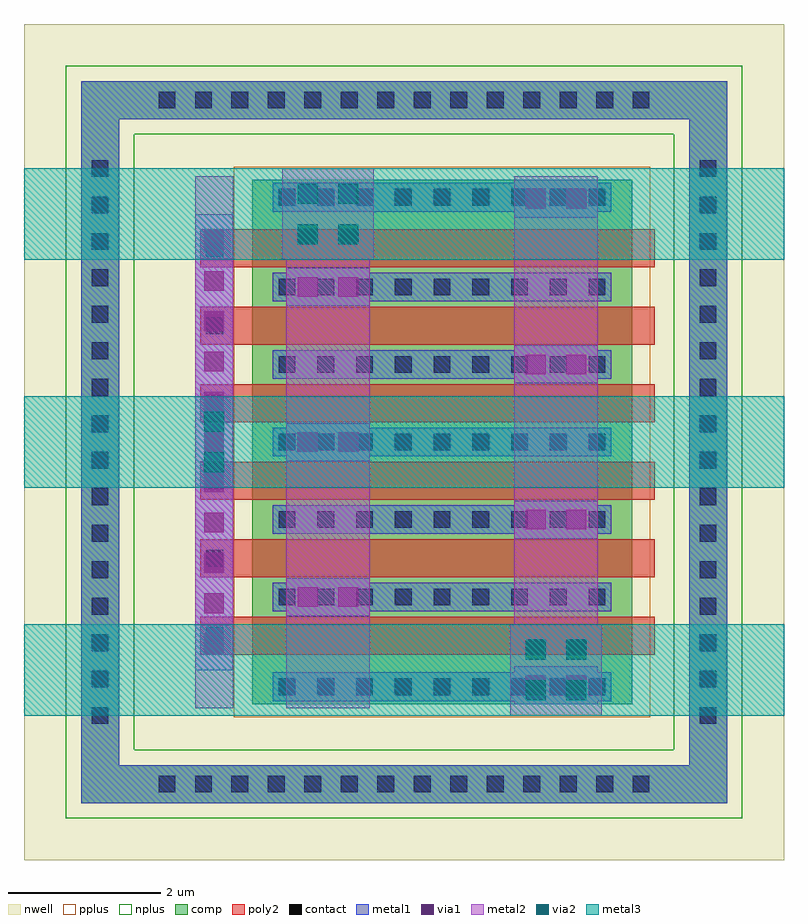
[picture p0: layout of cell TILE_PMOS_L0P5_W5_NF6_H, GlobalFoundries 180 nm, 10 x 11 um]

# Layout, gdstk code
from math import pi, radians
import gdstk
lib = gdstk.Library(unit=1e-6, precision=1e-09)
def R(c, l, rs):  # rectangles x0, y0, x1, y1
    for r in rs: c.add(gdstk.rectangle(r[:2], r[2:], *l))
def A(c, l, x, y, w, h, nx, ny, dx, dy):  # array of equal rectangles
    R(c, l, [(x+i*dx, y+j*dy, x+i*dx+w, y+j*dy+h) for i in range(nx) for j in range(ny)])
nwell = (21, 0)
comp = (22, 0)
poly2 = (30, 0)
pplus = (31, 0)
nplus = (32, 0)
contact = (33, 0)
metal1 = (34, 0)
via1 = (35, 0)
metal2 = (36, 0)
via2 = (38, 0)
metal3 = (42, 0)

via_dev = lib.new_cell('via_dev')

via_dev_12 = lib.new_cell('via_dev$12')
R(via_dev_12, comp, [(0,0,0.5,7)])
A(via_dev_12, contact, 0.14, 0.27, 0.22, 0.22, 1, 14, 0, 0.48)
R(via_dev_12, metal1, [(0,0,0.5,7)])

via_dev_13 = lib.new_cell('via_dev$13')
R(via_dev_13, comp, [(0,0,8,0.5)])
A(via_dev_13, contact, 0.29, 0.14, 0.22, 0.22, 16, 1, 0.48, 0)
R(via_dev_13, metal1, [(0,0,8,0.5)])

pfet = lib.new_cell('pfet')
R(pfet, nwell, [(-0.9,-0.44,6.88,5.44)])
R(pfet, comp, [(-0.46,0,0,5), (0,0,5.98,5), (5.98,0,6.44,5)])
A(pfet, poly2, 0.19, -0.3, 0.5, 5.6, 6, 1, 1.02, 0)
A(pfet, poly2, 0.19, 5.3, 0.5, 0.38, 6, 1, 1.02, 0)
R(pfet, pplus, [(-0.63,-0.24,6.61,5.24)])
A(pfet, contact, -0.34, 0.35, 0.22, 0.22, 1, 9, 0, 0.51)
A(pfet, contact, 0.84, 0.35, 0.22, 0.22, 5, 9, 1.02, 0.51)
A(pfet, contact, 6.1, 0.35, 0.22, 0.22, 1, 9, 0, 0.51)
A(pfet, contact, 0.33, 5.38, 0.22, 0.22, 6, 1, 1.02, 0)
A(pfet, metal1, 0.76, 0.27, 0.38, 4.46, 5, 1, 1.02, 0)
A(pfet, metal1, 0.25, 5.299, 0.38, 0.382, 6, 1, 1.02, 0)
R(pfet, metal1, [(-0.42,0.27,-0.04,4.73), (6.02,0.27,6.4,4.73)])

via_dev_14 = lib.new_cell('via_dev$14')
R(via_dev_14, metal1, [(0,0,0.5,1.1)])
R(via_dev_14, via1, [(0.12,0.155,0.38,0.415), (0.12,0.685,0.38,0.945)])
R(via_dev_14, metal2, [(0,0,0.5,1.1)])

via_dev_15 = lib.new_cell('via_dev$15')
R(via_dev_15, metal1, [(0,0,6,0.5)])
A(via_dev_15, via1, 0.22, 0.12, 0.26, 0.26, 11, 1, 0.53, 0)
R(via_dev_15, metal2, [(0,0,6,0.5)])

tile_pmos_l0p5_w5_nf6 = lib.new_cell('TILE_PMOS_L0P5_W5_NF6')
R(tile_pmos_l0p5_w5_nf6, nwell, [(-5.5,-1,5.5,9)])
tile_pmos_l0p5_w5_nf6.add(gdstk.FlexPath([(-3.5,2),(3.5,2)], 1.1, ends="flush", simple_path=True, layer=36, datatype=0))  # metal2
tile_pmos_l0p5_w5_nf6.add(gdstk.FlexPath([(-3.5,5),(3.5,5)], 1.1, ends="flush", simple_path=True, layer=36, datatype=0))  # metal2
tile_pmos_l0p5_w5_nf6.add(gdstk.FlexPath([(-3.5,6.5),(3.5,6.5)], 0.5, ends="flush", simple_path=True, layer=36, datatype=0))  # metal2
tile_pmos_l0p5_w5_nf6.add(gdstk.FlexPath([(-4.5,8.25),(-4.5,-0.25)], 0.5, ends="flush", simple_path=True, layer=34, datatype=0))  # metal1
tile_pmos_l0p5_w5_nf6.add(gdstk.FlexPath([(4.5,8.25),(4.5,-0.25)], 0.5, ends="flush", simple_path=True, layer=34, datatype=0))  # metal1
tile_pmos_l0p5_w5_nf6.add(gdstk.FlexPath([(-4.75,8),(4.75,8)], 0.5, ends="flush", simple_path=True, layer=34, datatype=0))  # metal1
tile_pmos_l0p5_w5_nf6.add(gdstk.FlexPath([(-4.75,0),(4.75,0)], 0.5, ends="flush", simple_path=True, layer=34, datatype=0))  # metal1
tile_pmos_l0p5_w5_nf6.add(gdstk.FlexPath([(-3,6.5),(3,6.5)], 0.5, ends="flush", simple_path=True, layer=34, datatype=0))  # metal1
tile_pmos_l0p5_w5_nf6.add(gdstk.FlexPath([(4.5,8.25),(4.5,-0.25)], 0.5, ends="flush", simple_path=True, layer=22, datatype=0))  # comp
tile_pmos_l0p5_w5_nf6.add(gdstk.FlexPath([(-4.5,8.25),(-4.5,-0.25)], 0.5, ends="flush", simple_path=True, layer=22, datatype=0))  # comp
tile_pmos_l0p5_w5_nf6.add(gdstk.FlexPath([(-4.75,8),(4.75,8)], 0.5, ends="flush", simple_path=True, layer=22, datatype=0))  # comp
tile_pmos_l0p5_w5_nf6.add(gdstk.FlexPath([(-4.75,0),(4.75,0)], 0.5, ends="flush", simple_path=True, layer=22, datatype=0))  # comp
tile_pmos_l0p5_w5_nf6.add(gdstk.FlexPath([(-4.95,0),(4.95,0)], 0.9, ends="flush", simple_path=True, layer=32, datatype=0))  # nplus
tile_pmos_l0p5_w5_nf6.add(gdstk.FlexPath([(-4.95,8),(4.95,8)], 0.9, ends="flush", simple_path=True, layer=32, datatype=0))  # nplus
tile_pmos_l0p5_w5_nf6.add(gdstk.FlexPath([(4.5,0),(4.5,8)], 0.9, ends="flush", simple_path=True, layer=32, datatype=0))  # nplus
tile_pmos_l0p5_w5_nf6.add(gdstk.FlexPath([(-4.5,0),(-4.5,8)], 0.9, ends="flush", simple_path=True, layer=32, datatype=0))  # nplus
tile_pmos_l0p5_w5_nf6.add(gdstk.Reference(via_dev, (-0.62,-0.915)))
tile_pmos_l0p5_w5_nf6.add(gdstk.Reference(via_dev_12, (-4.75,0.5)))
tile_pmos_l0p5_w5_nf6.add(gdstk.Reference(via_dev_12, (4.25,0.5)))
tile_pmos_l0p5_w5_nf6.add(gdstk.Reference(via_dev_13, (-4,-0.25)))
tile_pmos_l0p5_w5_nf6.add(gdstk.Reference(pfet, (-2.99,1)))
tile_pmos_l0p5_w5_nf6.add(gdstk.Reference(via_dev_14, (-3.45,1.45)))
tile_pmos_l0p5_w5_nf6.add(gdstk.Reference(via_dev_14, (-1.27,1.45)))
tile_pmos_l0p5_w5_nf6.add(gdstk.Reference(via_dev_14, (0.77,1.45)))
tile_pmos_l0p5_w5_nf6.add(gdstk.Reference(via_dev_14, (2.95,1.45)))
tile_pmos_l0p5_w5_nf6.add(gdstk.Reference(via_dev_14, (1.79,4.45)))
tile_pmos_l0p5_w5_nf6.add(gdstk.Reference(via_dev_14, (-0.25,4.45)))
tile_pmos_l0p5_w5_nf6.add(gdstk.Reference(via_dev_14, (-2.29,4.45)))
tile_pmos_l0p5_w5_nf6.add(gdstk.Reference(via_dev_15, (-3,6.25)))
tile_pmos_l0p5_w5_nf6.add(gdstk.Reference(via_dev_13, (-4,7.75)))

via_dev_5 = lib.new_cell('via_dev$5')
R(via_dev_5, metal2, [(0,0,1.2,1.2)])
R(via_dev_5, via2, [(0.205,0.205,0.465,0.465), (0.735,0.205,0.995,0.465), (0.205,0.735,0.465,0.995), (0.735,0.735,0.995,0.995)])
R(via_dev_5, metal3, [(0,0,1.2,1.2)])

via_dev_6 = lib.new_cell('via_dev$6')
R(via_dev_6, metal2, [(0,0,0.5,1.2)])
R(via_dev_6, via2, [(0.12,0.205,0.38,0.465), (0.12,0.735,0.38,0.995)])
R(via_dev_6, metal3, [(0,0,0.5,1.2)])

tile_pmos_l0p5_w5_nf6_h = lib.new_cell('TILE_PMOS_L0P5_W5_NF6_H')
tile_pmos_l0p5_w5_nf6_h.add(gdstk.FlexPath([(-9,3),(1,3)], 1.2, ends="flush", simple_path=True, layer=42, datatype=0))  # metal3
tile_pmos_l0p5_w5_nf6_h.add(gdstk.FlexPath([(-9,0),(1,0)], 1.2, ends="flush", simple_path=True, layer=42, datatype=0))  # metal3
tile_pmos_l0p5_w5_nf6_h.add(gdstk.FlexPath([(-9,-3),(1,-3)], 1.2, ends="flush", simple_path=True, layer=42, datatype=0))  # metal3
tile_pmos_l0p5_w5_nf6_h.add(gdstk.Reference(tile_pmos_l0p5_w5_nf6, (0,0), rotation=pi/2))
tile_pmos_l0p5_w5_nf6_h.add(gdstk.Reference(via_dev_5, (-5.6,2.4)))
tile_pmos_l0p5_w5_nf6_h.add(gdstk.Reference(via_dev_5, (-2.6,-3.6)))
tile_pmos_l0p5_w5_nf6_h.add(gdstk.Reference(via_dev_6, (-6.75,-0.6)))

lib.write_gds('TILE_PMOS_L0P5_W5_NF6_H.gds')
